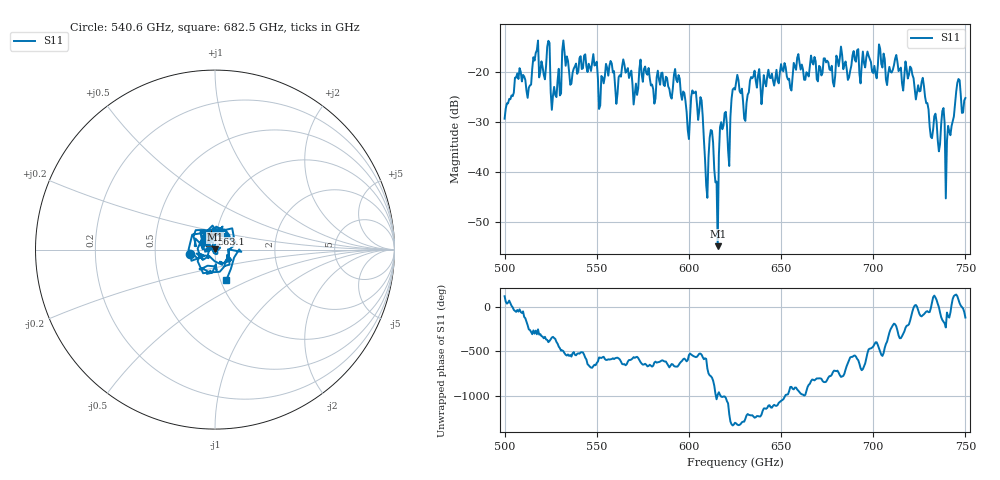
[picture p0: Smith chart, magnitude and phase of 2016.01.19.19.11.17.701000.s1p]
!Created with skrf (http://scikit-rf.org).
# GHz S RI R 50.0
!freq ReS11 ImS11
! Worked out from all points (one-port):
!   401 points, 500 GHz to 750 GHz, reference 50 ohm
!   lowest |S11| = -54.8 dB at 615.6 GHz (marker M1), VSWR 1.00, Z = 50 + j0.183 ohm
!   |S11| at or under -10 dB: start of sweep to end of sweep
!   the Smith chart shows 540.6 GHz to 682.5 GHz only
!   S11 on the Smith chart (normalised r, x): 540.6 GHz: 0.76, -0.04; 563.1 GHz: 0.95, +0.17; 682.5 GHz: 1.07, -0.38
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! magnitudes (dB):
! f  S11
! 500 GHz  -29.3
! 513.1 GHz  -23.1
! 516.9 GHz  -16.1
! 523.8 GHz  -13.7
! 526.9 GHz  -22.9
! 531.2 GHz  -15.7
! 540.6 GHz  -17.1
! 562.5 GHz  -20.6
! 563.1 GHz  -20.8
! 593.8 GHz  -22.0
! 599.4 GHz  -31.5
! 603.1 GHz  -24.0
! 606.9 GHz  -25.6
! 609.4 GHz  -42.6
! 611.9 GHz  -31.5
! 615.6 GHz  -54.8
! 618.1 GHz  -31.4
! 621.9 GHz  -38.7
! 625 GHz  -23.4
! 630.6 GHz  -29.7
! 634.4 GHz  -21.2
! 656.2 GHz  -20.9
! 682.5 GHz  -14.8
! 687.5 GHz  -19.7
! 718.8 GHz  -21.2
! 740.6 GHz  -30.7
! 745.6 GHz  -22.1
! 750 GHz  -25.1
